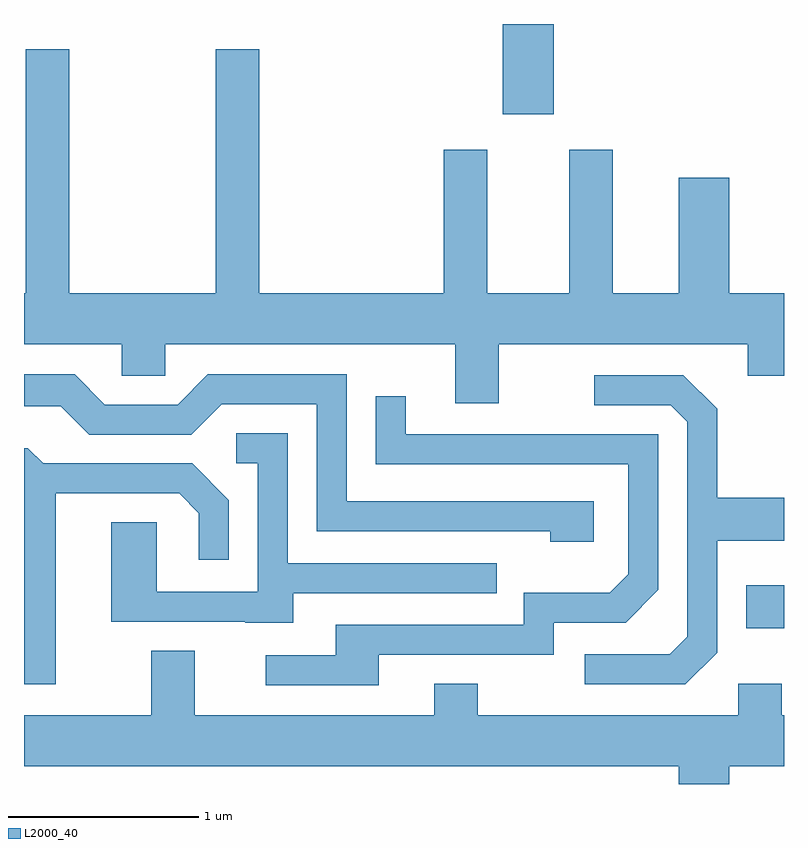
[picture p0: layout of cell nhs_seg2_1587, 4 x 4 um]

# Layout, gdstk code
import gdstk
lib = gdstk.Library(unit=1e-6, precision=1e-09)
def R(c, l, rs):  # rectangles x0, y0, x1, y1
    for r in rs: c.add(gdstk.rectangle(r[:2], r[2:], *l))
def P(c, l, *ps):  # polygons
    for p in ps: c.add(gdstk.Polygon(p, *l))
L2000_40 = (2000, 40)

nhs_seg2_1587 = lib.new_cell('nhs_seg2_1587')
R(nhs_seg2_1587, L2000_40, [(235.411,1024.621,235.611,1024.849), (234.131,1027.326,234.399,1027.802)])
P(nhs_seg2_1587, L2000_40, [(235.056,1026.994),(235.056,1026.384),(234.709,1026.384),(234.709,1027.139),(234.481,1027.139),(234.481,1026.384),(234.049,1026.384),(234.049,1027.139),(233.821,1027.139),(233.821,1026.384),(232.849,1026.384),(232.849,1027.669),(232.621,1027.669),(232.621,1026.384),(231.849,1026.384),(231.849,1027.669),(231.621,1027.669),(231.621,1026.384),(231.611,1026.384),(231.611,1026.116),(232.126,1026.116),(232.126,1025.951),(232.354,1025.951),(232.354,1026.116),(233.881,1026.116),(233.881,1025.806),(234.109,1025.806),(234.109,1026.116),(235.421,1026.116),(235.421,1025.951),(235.611,1025.951),(235.611,1026.384),(235.324,1026.384),(235.324,1026.994)],
  [(234.609,1025.289),(233.309,1025.289),(233.309,1025.959),(232.579,1025.959),(232.419,1025.799),(232.037,1025.799),(231.877,1025.959),(231.611,1025.959),(231.611,1025.791),(231.804,1025.791),(231.954,1025.641),(232.492,1025.641),(232.652,1025.801),(233.151,1025.801),(233.151,1025.131),(234.381,1025.131),(234.381,1025.076),(234.609,1025.076)],
  [(235.259,1024.494),(235.259,1025.081),(235.611,1025.081),(235.611,1025.309),(235.259,1025.309),(235.259,1025.777),(235.082,1025.954),(234.613,1025.954),(234.613,1025.796),(235.014,1025.796),(235.101,1025.709),(235.101,1024.577),(235.009,1024.484),(234.563,1024.484),(234.563,1024.326),(235.092,1024.326)],
  [(233.479,1024.481),(234.399,1024.481),(234.399,1024.651),(234.777,1024.651),(234.949,1024.824),(234.949,1025.644),(233.619,1025.644),(233.619,1025.843),(233.461,1025.843),(233.461,1025.486),(234.791,1025.486),(234.791,1024.907),(234.694,1024.809),(234.241,1024.809),(234.241,1024.639),(233.251,1024.639),(233.251,1024.479),(232.883,1024.479),(232.883,1024.321),(233.479,1024.321)],
  [(233.029,1024.806),(234.098,1024.806),(234.098,1024.964),(232.999,1024.964),(232.999,1025.649),(232.728,1025.649),(232.728,1025.491),(232.841,1025.491),(232.841,1024.814),(232.309,1024.814),(232.309,1025.179),(232.071,1025.179),(232.071,1024.656),(232.775,1024.656),(232.775,1024.651),(233.029,1024.651)],
  [(231.779,1025.331),(232.429,1025.331),(232.531,1025.228),(232.531,1024.983),(232.689,1024.983),(232.689,1025.296),(232.497,1025.489),(231.712,1025.489),(231.632,1025.569),(231.611,1025.569),(231.611,1024.326),(231.779,1024.326)],
  [(235.324,1023.896),(235.611,1023.896),(235.611,1024.164),(235.599,1024.164),(235.599,1024.329),(235.371,1024.329),(235.371,1024.164),(233.999,1024.164),(233.999,1024.329),(233.771,1024.329),(233.771,1024.164),(232.509,1024.164),(232.509,1024.504),(232.281,1024.504),(232.281,1024.164),(231.611,1024.164),(231.611,1023.896),(235.056,1023.896),(235.056,1023.802),(235.324,1023.802)])

lib.write_gds('nhs_seg2_1587.gds')
